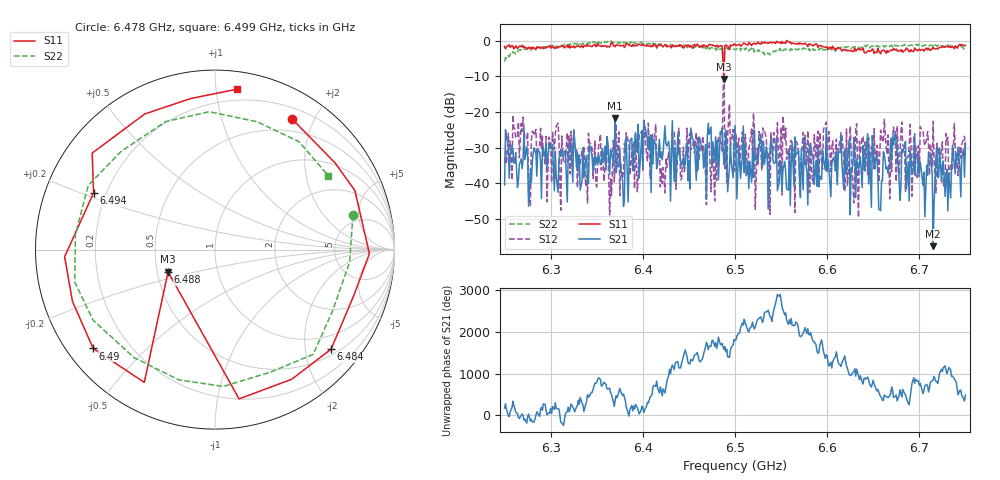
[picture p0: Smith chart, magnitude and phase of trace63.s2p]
# Hz S RI R 50
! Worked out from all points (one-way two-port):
!   401 points, 6.25 GHz to 6.75 GHz, reference 50 ohm
!   highest |S21| = -21.72 dB at 6.37 GHz (marker M1); lowest = -57.6 dB at 6.715 GHz (marker M2)
!   lowest |S11| = -10.8 dB at 6.488 GHz (marker M3), VSWR 1.81, Z = 28.5 - j7.7 ohm
!   |S11| at or under -10 dB: 6.487833 GHz to 6.488084 GHz (251.1 kHz wide, 0.00387 % of centre)
!   |S22| runs from -5.8 to 0.0 dB; largest |S21 - S12| = 0.71
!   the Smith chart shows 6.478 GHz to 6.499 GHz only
!   S11 on the Smith chart (normalised r, x): 6.478 GHz: 0.33, +1.70; 6.484 GHz: 0.63, -2.57; 6.488 GHz: 0.57, -0.15; 6.49 GHz: 0.08, -0.35; 6.494 GHz: 0.15, +0.22; 6.499 GHz: 0.12, +1.14
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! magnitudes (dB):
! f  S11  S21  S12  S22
! 6.25 GHz  -1.7  -40.5  -34.3  -5.8
! 6.27 GHz  -1.9  -33.6  -21.4  -2.7
! 6.275 GHz  -2.4  -32.6  -25.6  -2.3
! 6.281 GHz  -1.9  -31.7  -25.6  -2.1
! 6.334 GHz  -1.4  -39.4  -30.8  -0.9
! 6.366 GHz  -0.4  -31.3  -43.5  -0.4
! 6.37 GHz  -1.7  -21.7  -33.5  -0.5
! 6.418 GHz  -1.0  -27.7  -29.4  -1.4
! 6.478 GHz  -1.5  -34.1  -45.0  -2.0
! 6.484 GHz  -1.4  -25.6  -27.7  -2.3
! 6.488 GHz  -10.8  -34.8  -2.8  -2.1
! 6.49 GHz  -1.2  -25.2  -29.0  -2.1
! 6.494 GHz  -2.5  -35.7  -17.8  -2.3
! 6.499 GHz  -0.9  -29.4  -34.9  -2.5
! 6.5 GHz  -1.0  -23.8  -36.6  -2.5
! 6.584 GHz  -1.3  -32.6  -39.9  -2.5
! 6.599 GHz  -2.0  -24.7  -22.9  -2.4
! 6.651 GHz  -3.6  -36.0  -24.7  -1.5
! 6.658 GHz  -3.7  -47.7  -25.1  -1.8
! 6.668 GHz  -2.7  -34.1  -44.4  -1.7
! 6.715 GHz  -1.8  -57.6  -22.7  -1.7
! 6.75 GHz  -1.3  -28.6  -32.2  -2.3
